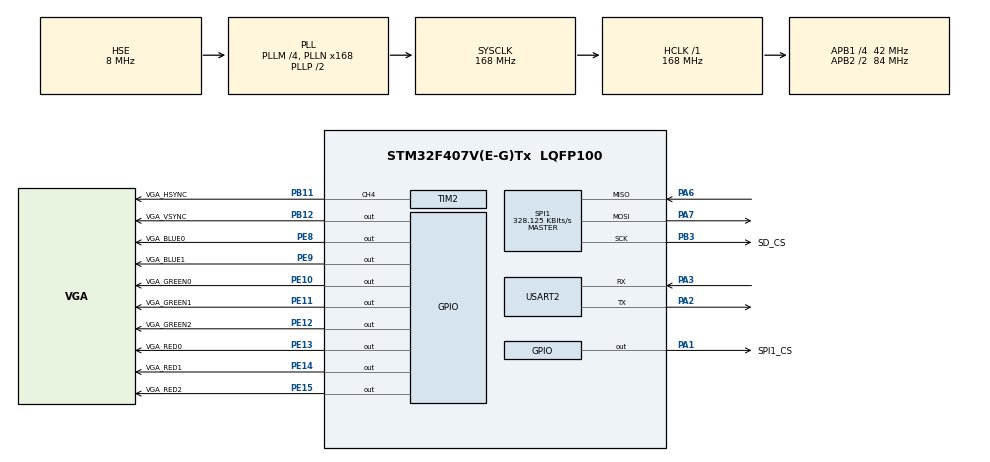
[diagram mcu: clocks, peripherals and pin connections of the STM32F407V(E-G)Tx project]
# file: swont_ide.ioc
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Dma.Request0=TIM1_UP
Dma.TIM1_UP.0.Direction=DMA_MEMORY_TO_PERIPH
Dma.TIM1_UP.0.FIFOMode=DMA_FIFOMODE_DISABLE
Dma.TIM1_UP.0.Instance=DMA2_Stream5
Dma.TIM1_UP.0.MemDataAlignment=DMA_MDATAALIGN_BYTE
Dma.TIM1_UP.0.MemInc=DMA_MINC_ENABLE
Dma.TIM1_UP.0.Mode=DMA_NORMAL
Dma.TIM1_UP.0.PeriphDataAlignment=DMA_PDATAALIGN_BYTE
Dma.TIM1_UP.0.PeriphInc=DMA_PINC_DISABLE
Dma.TIM1_UP.0.Priority=DMA_PRIORITY_VERY_HIGH
Mcu.Family=STM32F4
Mcu.Name=STM32F407V(E-G)Tx
Mcu.Package=LQFP100
NVIC.DMA2_Stream5_IRQn=true\:0\:0\:false\:false\:true\:false\:true\:true
NVIC.PriorityGroup=NVIC_PRIORITYGROUP_4
NVIC.TIM2_IRQn=true\:0\:0\:true\:false\:true\:true\:true\:true
NVIC.USART2_IRQn=true\:0\:0\:false\:false\:true\:true\:true\:true
PA1.GPIO_Label=SPI1_CS
PA1.Signal=GPIO_Output
PA13.Mode=Serial_Wire
PA13.Signal=SYS_JTMS-SWDIO
PA14.Mode=Serial_Wire
PA14.Signal=SYS_JTCK-SWCLK
PA2.Mode=Asynchronous
PA2.Signal=USART2_TX
PA3.Mode=Asynchronous
PA3.Signal=USART2_RX
PA6.GPIO_PuPd=GPIO_PULLUP
PA6.Mode=Full_Duplex_Master
PA6.Signal=SPI1_MISO
PA7.GPIO_PuPd=GPIO_PULLUP
PA7.Mode=Full_Duplex_Master
PA7.Signal=SPI1_MOSI
PB11.GPIO_Label=VGA_HSYNC
PB11.GPIO_Speed=GPIO_SPEED_FREQ_VERY_HIGH
PB11.Signal=S_TIM2_CH4
PB12.GPIO_Label=VGA_VSYNC
PB12.GPIO_PuPd=GPIO_NOPULL
PB12.GPIO_Speed=GPIO_SPEED_FREQ_VERY_HIGH
PB12.Signal=GPIO_Output
PB3.GPIO_Label=SD_CS
PB3.GPIO_PuPd=GPIO_PULLUP
PB3.Mode=Full_Duplex_Master
PB3.Signal=SPI1_SCK
PE10.GPIO_Label=VGA_GREEN0
PE10.GPIO_PuPd=GPIO_NOPULL
PE10.GPIO_Speed=GPIO_SPEED_FREQ_VERY_HIGH
PE10.Signal=GPIO_Output
PE11.GPIO_Label=VGA_GREEN1
PE11.GPIO_PuPd=GPIO_NOPULL
PE11.GPIO_Speed=GPIO_SPEED_FREQ_VERY_HIGH
PE11.Signal=GPIO_Output
PE12.GPIO_Label=VGA_GREEN2
PE12.GPIO_PuPd=GPIO_NOPULL
PE12.GPIO_Speed=GPIO_SPEED_FREQ_VERY_HIGH
PE12.Signal=GPIO_Output
PE13.GPIO_Label=VGA_RED0
PE13.GPIO_PuPd=GPIO_NOPULL
PE13.GPIO_Speed=GPIO_SPEED_FREQ_VERY_HIGH
PE13.Signal=GPIO_Output
PE14.GPIO_Label=VGA_RED1
PE14.GPIO_PuPd=GPIO_NOPULL
PE14.GPIO_Speed=GPIO_SPEED_FREQ_VERY_HIGH
PE14.Signal=GPIO_Output
PE15.GPIO_Label=VGA_RED2
PE15.GPIO_PuPd=GPIO_NOPULL
PE15.GPIO_Speed=GPIO_SPEED_FREQ_VERY_HIGH
PE15.Signal=GPIO_Output
PE8.GPIO_Label=VGA_BLUE0
PE8.GPIO_PuPd=GPIO_NOPULL
PE8.GPIO_Speed=GPIO_SPEED_FREQ_VERY_HIGH
PE8.Signal=GPIO_Output
PE9.GPIO_Label=VGA_BLUE1
PE9.GPIO_PuPd=GPIO_NOPULL
PE9.GPIO_Speed=GPIO_SPEED_FREQ_VERY_HIGH
PE9.Signal=GPIO_Output
PH0-OSC_IN.Mode=HSE-External-Oscillator
PH0-OSC_IN.Signal=RCC_OSC_IN
PH1-OSC_OUT.Mode=HSE-External-Oscillator
PH1-OSC_OUT.Signal=RCC_OSC_OUT
ProjectManager.HeapSize=0x200
ProjectManager.StackSize=0x400
ProjectManager.TargetToolchain=STM32CubeIDE
RCC.48MHZClocksFreq_Value=84000000
RCC.AHBFreq_Value=168000000
RCC.APB1CLKDivider=RCC_HCLK_DIV4
RCC.APB1Freq_Value=42000000
RCC.APB1TimFreq_Value=84000000
RCC.APB2CLKDivider=RCC_HCLK_DIV2
RCC.APB2Freq_Value=84000000
RCC.APB2TimFreq_Value=168000000
RCC.CortexFreq_Value=168000000
RCC.HCLKFreq_Value=168000000
RCC.HSE_VALUE=8000000
RCC.HSI_VALUE=16000000
RCC.LSE_VALUE=32768
RCC.PLLM=4
RCC.PLLN=168
RCC.PLLSourceVirtual=RCC_PLLSOURCE_HSE
RCC.SYSCLKFreq_VALUE=168000000
RCC.SYSCLKSource=RCC_SYSCLKSOURCE_PLLCLK
RCC.VCOOutputFreq_Value=336000000
SH.S_TIM2_CH4.0=TIM2_CH4,PWM Generation4 CH4
SPI1.BaudRatePrescaler=SPI_BAUDRATEPRESCALER_256
SPI1.CalculateBaudRate=328.125 KBits/s
SPI1.Direction=SPI_DIRECTION_2LINES
SPI1.Mode=SPI_MODE_MASTER
SPI1.VirtualType=VM_MASTER
TIM1.Period=VGA_TIM1_PERIODE
TIM1.Prescaler=VGA_TIM1_PRESCALE
TIM2.AutoReloadPreload=TIM_AUTORELOAD_PRELOAD_DISABLE
TIM2.Channel-PWM\ Generation3\ No\ Output=TIM_CHANNEL_3
TIM2.Channel-PWM\ Generation4\ CH4=TIM_CHANNEL_4
TIM2.OCPolarity_3=TIM_OCPOLARITY_LOW
TIM2.OCPolarity_4=TIM_OCPOLARITY_LOW
TIM2.Period=VGA_TIM2_HSYNC_PERIODE
TIM2.Prescaler=VGA_TIM2_HSYNC_PRESCALE
TIM2.Pulse-PWM\ Generation3\ No\ Output=VGA_TIM2_HTRIGGER_START - VGA_TIM2_DMA_DELAY
TIM2.Pulse-PWM\ Generation4\ CH4=VGA_TIM2_HSYNC_IMP
USART2.VirtualMode=VM_ASYNC
VP_FATFS_VS_Generic.Mode=User_defined
VP_TIM1_VS_ClockSourceINT.Mode=Internal
VP_TIM2_VS_no_output3.Mode=PWM Generation3 No Output
board=custom

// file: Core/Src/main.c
/* USER CODE BEGIN Header */
/**
 ******************************************************************************
 * @file           : main.c
 * @brief          : Main program body
 ******************************************************************************
 * @attention
 *
 * <h2><center>&copy; Copyright (c) 2020 STMicroelectronics.
 * All rights reserved.</center></h2>
 *
 * This software component is licensed by ST under BSD 3-Clause license,
 * the "License"; You may not use this file except in compliance with the
 * License. You may obtain a copy of the License at:
 *                        opensource.org/licenses/BSD-3-Clause
 *
 ******************************************************************************
 */
/* USER CODE END Header */
/* USER CODE BEGIN Includes */
#include "main.h"

#include "Commands.h"
#include "Parser.h"
#include "dma.h"
#include "errorhandling.h"
#include "fatfs.h"
#include "gpio.h"
#include "spi.h"
#include "tim.h"
#include "usart.h"
#include "sdcard.h"

/* Private includes ----------------------------------------------------------*/
/* USER CODE BEGIN Includes */

#include <stdarg.h>
#include <stdio.h>
#include <string.h>

/* USER CODE END Includes */

/* USER CODE BEGIN PV */
input_vars input;

volatile char container[1024];
volatile int temp;
volatile int key;

/* USER CODE END PV */

void SystemClock_Config(void);

int main(void) {

  /* MCU Configuration--------------------------------------------------------*/

  /* Reset of all peripherals, Initializes the Flash interface and the Systick.
   */
  HAL_Init();

  /* USER CODE BEGIN Init */
  CmdStruct arg_struct;
  Error err;

  /* USER CODE END Init */

  /* Configure the system clock */
  SystemClock_Config();

  /* Initialize all configured peripherals */
  MX_GPIO_Init();
  MX_DMA_Init();
  MX_TIM1_Init();
  MX_TIM2_Init();
  MX_USART2_UART_Init();
  MX_SPI1_Init();
  MX_FATFS_Init();
  /* USER CODE BEGIN 2 */

  UB_VGA_Screen_Init();  // Init VGA-Screen
  CircBufInit(); //Init circular buffer
  err = SDCardInit(); // Init SD-card
  if(err != ERR_NONE) {
	  TransmitError(err);
  }
  printf("type help, to see all commands \r\n ");

  UB_VGA_FillScreen(VGA_COL_BLACK);

  int i;

  for (i = 0; i < LINE_BUFLEN; i++) input.line_rx_buffer[i] = 0;

  //  // Reset some stuff
  input.byte_buffer_rx[0] = 0;
  input.char_counter = 0;
  input.command_execute_flag = FALSE;

  // HAl wants a memory location to store the charachter it receives from the
  // UART We will pass it an array, but we will not use it. We declare our own
  // variable in the interupt handler See stm32f4xx_it.c
  HAL_UART_Receive_IT(&huart2, input.byte_buffer_rx, BYTE_BUFLEN);

  // Test to see if the screen reacts to UART

  /* USER CODE END 2 */

  /* Infinite loop */
  /* USER CODE BEGIN WHILE */
	while (1) {
		while(input.command_execute_flag == TRUE) {
			err = ParseOnKomma(input, 0, 0, 0, 0, 0, 0, &arg_struct);
			(void*)memset(&input, 0, sizeof(arg_struct));
			if(err != ERR_NONE) {
				(void*)memset(&arg_struct, 0, sizeof(arg_struct));
				input.command_execute_flag = FALSE;
				TransmitError(err);
				break;
			}
			err = callCommand(&arg_struct);
			if(err != ERR_NONE) {
				(void*)memset(&arg_struct, 0, sizeof(arg_struct));
				input.command_execute_flag = FALSE;
				TransmitError(err);
				break;
			}
			if(arg_struct.commandNummer != HERHAAL) {
				err = CircBufPush(&arg_struct);
			}
			if(err != ERR_NONE) {
				(void*)memset(&arg_struct, 0, sizeof(arg_struct));
				input.command_execute_flag = FALSE;
				TransmitError(err);
				break;
			}
			(void*)memset(&arg_struct, 0, sizeof(arg_struct));
			// When finished reset the flag
			input.command_execute_flag = FALSE;
		}
    /* USER CODE END WHILE */

  }
}

void SystemClock_Config(void) {
  RCC_OscInitTypeDef RCC_OscInitStruct = {0};
  RCC_ClkInitTypeDef RCC_ClkInitStruct = {0};

  /** Configure the main internal regulator output voltage
   */
  __HAL_RCC_PWR_CLK_ENABLE();
  __HAL_PWR_VOLTAGESCALING_CONFIG(PWR_REGULATOR_VOLTAGE_SCALE1);
  /** Initializes the RCC Oscillators according to the specified parameters
   * in the RCC_OscInitTypeDef structure.
   */
  RCC_OscInitStruct.OscillatorType = RCC_OSCILLATORTYPE_HSE;
  RCC_OscInitStruct.HSEState = RCC_HSE_ON;
  RCC_OscInitStruct.PLL.PLLState = RCC_PLL_ON;
  RCC_OscInitStruct.PLL.PLLSource = RCC_PLLSOURCE_HSE;
  RCC_OscInitStruct.PLL.PLLM = 4;
  RCC_OscInitStruct.PLL.PLLN = 168;
  RCC_OscInitStruct.PLL.PLLP = RCC_PLLP_DIV2;
  RCC_OscInitStruct.PLL.PLLQ = 4;
  if (HAL_RCC_OscConfig(&RCC_OscInitStruct) != HAL_OK) {
    Error_Handler();
  }
  /** Initializes the CPU, AHB and APB buses clocks
   */
  RCC_ClkInitStruct.ClockType = RCC_CLOCKTYPE_HCLK | RCC_CLOCKTYPE_SYSCLK |
                                RCC_CLOCKTYPE_PCLK1 | RCC_CLOCKTYPE_PCLK2;
  RCC_ClkInitStruct.SYSCLKSource = RCC_SYSCLKSOURCE_PLLCLK;
  RCC_ClkInitStruct.AHBCLKDivider = RCC_SYSCLK_DIV1;
  RCC_ClkInitStruct.APB1CLKDivider = RCC_HCLK_DIV4;
  RCC_ClkInitStruct.APB2CLKDivider = RCC_HCLK_DIV2;

  if (HAL_RCC_ClockConfig(&RCC_ClkInitStruct, FLASH_LATENCY_5) != HAL_OK) {
    Error_Handler();
  }
}

/* USER CODE BEGIN 4 */

#ifdef __GNUC__
#define USART_PRINTF \
  int __io_putchar(int ch)  // With GCC/RAISONANCE printf calls __io_putchar()
#else
#define USART_PRINTF \
  int fputc(int ch, FILE *f)  // With other compiler printf calls fputc()
#endif                        /* __GNUC__ */

// Retargets the C library printf function to the USART
USART_PRINTF {
  HAL_UART_Transmit(&huart2, (uint8_t *)&ch, 1,
                    0xFFFF);  // Write character to UART2
  return ch;                  // Return the character
}

/* USER CODE END 4 */

void Error_Handler(void) {
}

#ifdef USE_FULL_ASSERT
/**
 * @brief  Reports the name of the source file and the source line number
 *         where the assert_param error has occurred.
 * @param  file: pointer to the source file name
 * @param  line: assert_param error line source number
 * @retval None
 */
void assert_failed(uint8_t *file, uint32_t line) {
  /* USER CODE BEGIN 6 */
  /* User can add his own implementation to report the file name and line
     number, tex: printf("Wrong parameters value: file %s on line %d\r\n", file,
     line) */
  /* USER CODE END 6 */
}
#endif /* USE_FULL_ASSERT */

/************************ (C) COPYRIGHT STMicroelectronics *****END OF FILE****/
